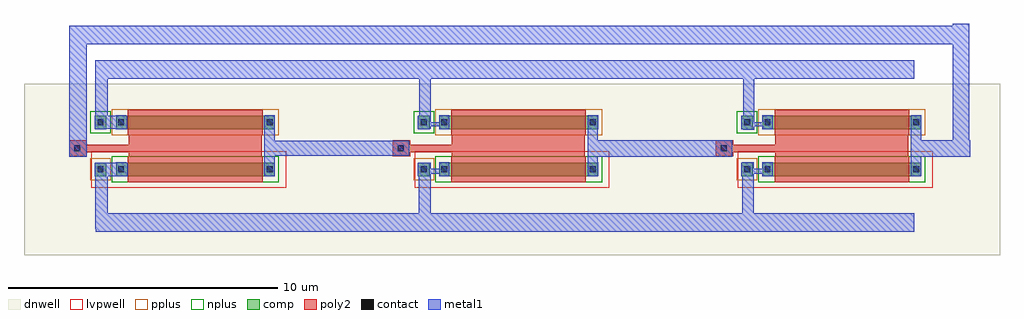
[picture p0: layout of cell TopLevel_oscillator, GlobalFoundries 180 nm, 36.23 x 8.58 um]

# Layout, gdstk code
import gdstk
lib = gdstk.Library(unit=1e-6, precision=1e-09)
def R(c, l, rs):  # rectangles x0, y0, x1, y1
    for r in rs: c.add(gdstk.rectangle(r[:2], r[2:], *l))
dnwell = (12, 0)
comp = (22, 0)
poly2 = (30, 0)
pplus = (31, 0)
nplus = (32, 0)
contact = (33, 0)
metal1 = (34, 0)
lvpwell = (204, 0)

nfet_1 = lib.new_cell('nfet$1')
R(nfet_1, dnwell, [(-3.42,-2.93,8.81,3.43)])
R(nfet_1, comp, [(-0.8,0,-0.36,0.5), (0,0,5.88,0.5)])
R(nfet_1, poly2, [(0.44,-0.22,5.44,0.72)])
R(nfet_1, pplus, [(-0.96,-0.16,-0.2,0.66)])
R(nfet_1, nplus, [(-0.16,-0.23,6.04,0.73)])
R(nfet_1, contact, [(-0.69,0.14,-0.47,0.36), (0.07,0.14,0.29,0.36), (5.59,0.14,5.81,0.36)])
R(nfet_1, metal1, [(-0.01,-0.01,0.37,0.51), (5.51,-0.01,5.89,0.51), (-0.8,0,-0.36,0.5)])
R(nfet_1, lvpwell, [(-0.92,-0.43,6.31,0.93)])

pfet_1 = lib.new_cell('pfet$1')
R(pfet_1, dnwell, [(-1.42,-0.93,6.81,1.43)])
R(pfet_1, comp, [(-0.8,0,-0.36,0.5), (0,0,5.88,0.5)])
R(pfet_1, poly2, [(0.44,-0.22,5.44,0.72)])
R(pfet_1, pplus, [(-0.16,-0.23,6.04,0.73)])
R(pfet_1, nplus, [(-0.96,-0.16,-0.2,0.66)])
R(pfet_1, contact, [(-0.69,0.14,-0.47,0.36), (0.07,0.14,0.29,0.36), (5.59,0.14,5.81,0.36)])
R(pfet_1, metal1, [(-0.01,-0.01,0.37,0.51), (5.51,-0.01,5.89,0.51), (-0.8,0,-0.36,0.5)])

inverter = lib.new_cell('inverter')
R(inverter, poly2, [(0.514,-0.657,5.452,0.397), (-1.683,-0.411,-1.034,0.178), (-1.103,-0.27,0.681,0.01)])
R(inverter, contact, [(-1.494,-0.229,-1.274,-0.009)])
R(inverter, metal1, [(5.556,-1.145,5.936,1.096), (-0.612,-1.069,0.297,-0.878), (-1.601,-0.356,-1.101,0.144), (-0.629,0.698,0.284,0.856)])
inverter.add(gdstk.Reference(nfet_1, (0.054,-1.153)))
inverter.add(gdstk.Reference(pfet_1, (0.054,0.593)))

toplevel_oscillator = lib.new_cell('TopLevel_oscillator')
R(toplevel_oscillator, metal1, [(-1.273,-1.713,29.118,-1.026), (-1.282,-1.609,-0.825,0.833), (10.718,-1.592,11.157,0.837), (22.725,-1.429,23.159,0.868), (-1.28,0.34,-0.085,0.843), (-2.249,1.069,-1.611,5.933), (17.082,1.069,22.362,1.675), (29.122,1.069,31.2,1.675), (30.542,1.095,31.148,5.996), (5.088,1.101,10.367,1.659), (22.763,2.067,23.172,4.351), (-1.287,2.097,-0.091,2.594), (-1.29,2.099,-0.825,4.328), (10.739,2.113,11.167,4.369), (-1.281,3.969,29.118,4.656), (-1.788,5.236,31.006,5.923)])
toplevel_oscillator.add(gdstk.Reference(inverter, (11.433,1.498)))
toplevel_oscillator.add(gdstk.Reference(inverter, (23.433,1.498)))
toplevel_oscillator.add(gdstk.Reference(inverter, (-0.567,1.498)))

lib.write_gds('TopLevel_oscillator.gds')
